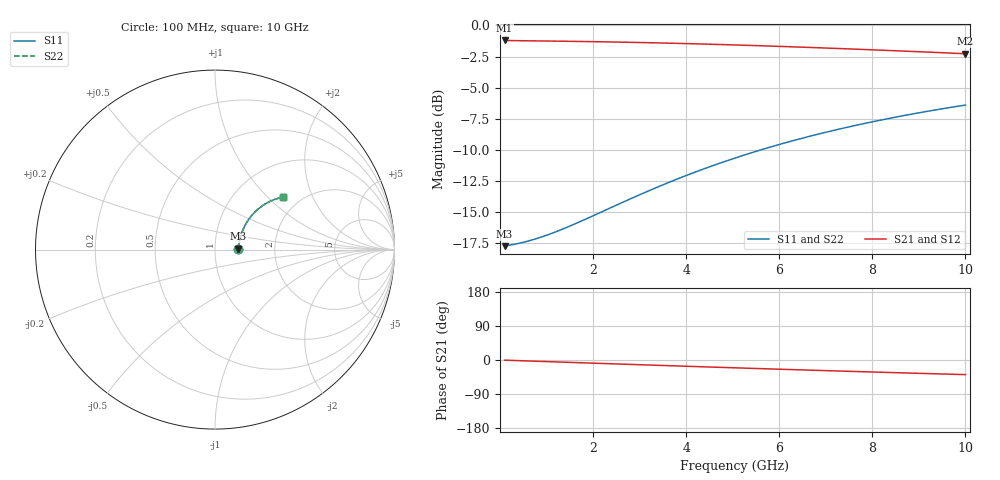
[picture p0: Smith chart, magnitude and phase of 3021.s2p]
# Hz S RI R 50.00
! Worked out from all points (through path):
!   100 points, 100 MHz to 10 GHz, reference 50 ohm
!   highest |S21| = -1.20 dB at 100 MHz (marker M1); lowest = -2.3 dB at 10 GHz (marker M2)
!   group delay of S21, straight-line fit = 10.8 ps
!   lowest |S11| = -17.8 dB at 100 MHz (marker M3), VSWR 1.30, Z = 64.9 + j0.598 ohm
!   |S11| at or under -10 dB: start of sweep to 5.612 GHz
!   |S22| runs from -17.8 to -6.4 dB; largest |S21 - S12| = 0
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1e8  0.1295 0.00453  0.8705 -0.00638  0.8705 -0.00638  0.1295 0.00453
5e8  0.1323 0.0225  0.8676 -0.0318  0.8676 -0.0318  0.1323 0.0225
7e8  0.1337 0.0314  0.8662 -0.0444  0.8662 -0.0444  0.1337 0.0314
9e8  0.1353 0.0403  0.8645 -0.0569  0.8645 -0.0569  0.1353 0.0403
1.1e9  0.137 0.0491  0.8627 -0.0694  0.8627 -0.0694  0.137 0.0491
1.3e9  0.139 0.0578  0.8607 -0.0819  0.8607 -0.0819  0.139 0.0578
1.8e9  0.1448 0.0794  0.8546 -0.1127  0.8546 -0.1127  0.1448 0.0794
2.6e9  0.1569 0.1125  0.8418 -0.1607  0.8418 -0.1607  0.1569 0.1125
3e9  0.1642 0.1284  0.8341 -0.184  0.8341 -0.184  0.1642 0.1284
3.4e9  0.1724 0.1438  0.8254 -0.2068  0.8254 -0.2068  0.1724 0.1438
3.8e9  0.1814 0.1585  0.816 -0.229  0.816 -0.229  0.1814 0.1585
4.2e9  0.191 0.1726  0.8057 -0.2505  0.8057 -0.2505  0.191 0.1726
4.6e9  0.2014 0.1861  0.7947 -0.2714  0.7947 -0.2714  0.2014 0.1861
5.1e9  0.2152 0.2019  0.78 -0.2966  0.78 -0.2966  0.2152 0.2019
5.5e9  0.2268 0.2137  0.7675 -0.3159  0.7675 -0.3159  0.2268 0.2137
5.9e9  0.239 0.2247  0.7545 -0.3344  0.7545 -0.3344  0.239 0.2247
6.3e9  0.2516 0.2349  0.741 -0.3522  0.741 -0.3522  0.2516 0.2349
6.7e9  0.2646 0.2444  0.7271 -0.3691  0.7271 -0.3691  0.2646 0.2444
7.5e9  0.2914 0.2609  0.6981 -0.4008  0.6981 -0.4008  0.2914 0.2609
8.4e9  0.3226 0.2756  0.6642 -0.4327  0.6642 -0.4327  0.3226 0.2756
9.2e9  0.3507 0.2854  0.6333 -0.4578  0.6333 -0.4578  0.3507 0.2854
1e10  0.3789 0.2923  0.6021 -0.48  0.6021 -0.48  0.3789 0.2923
